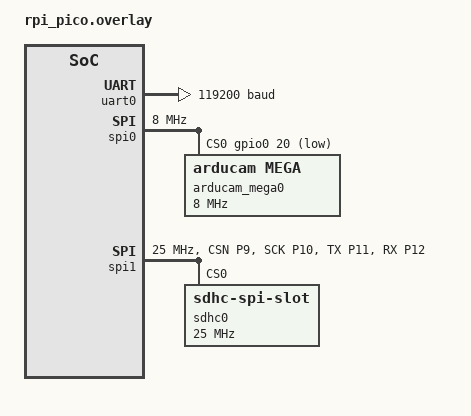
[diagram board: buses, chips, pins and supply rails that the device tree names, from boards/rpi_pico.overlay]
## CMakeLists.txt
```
# SPDX-License-Identifier: Apache-2.0

cmake_minimum_required(VERSION 3.20.0)
find_package(Zephyr REQUIRED HINTS $ENV{ZEPHYR_BASE})
project(simple)

FILE(GLOB app_sources src/*.c)

set(LIB_DIR lib)
zephyr_include_directories(. ${LIB_DIR})
zephyr_library_sources(
  ${LIB_DIR}/sd.c
  ${LIB_DIR}/camera.c
)

target_sources(app PRIVATE ${app_sources})
```

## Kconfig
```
menu "Zephyr"
source "Kconfig.zephyr"
endmenu

module = APP
module-str = APP
source "subsys/logging/Kconfig.template.log_config"
```

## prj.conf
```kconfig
CONFIG_LOG=y
CONFIG_SERIAL=y

# Arducam
CONFIG_SPI=y
CONFIG_VIDEO=y
CONFIG_VIDEO_INIT_PRIORITY=72
CONFIG_VIDEO_BUFFER_POOL_SZ_MAX=2048
CONFIG_VIDEO_BUFFER_POOL_NUM_MAX=2
CONFIG_VIDEO_ARDUCAM_MEGA=y

# SD Card
CONFIG_DISK_ACCESS=y
CONFIG_LOG=y
CONFIG_FILE_SYSTEM=y
CONFIG_FS_FATFS_EXFAT=y
CONFIG_FS_FATFS_LFN=y
CONFIG_DISK_DRIVER_SDMMC=y
CONFIG_SPI=y
CONFIG_GPIO=y
CONFIG_PRINTK=y
CONFIG_CONSOLE=y
CONFIG_SERIAL=y
CONFIG_UART_CONSOLE=y
CONFIG_APP_LOG_LEVEL_DBG=y
CONFIG_FAT_FILESYSTEM_ELM=y
CONFIG_MAIN_STACK_SIZE=8192
```

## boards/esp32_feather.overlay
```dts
&uart0 {
    current-speed = <921600>;
};

&spi2 {
    clock-frequency = <8000000>;
    cs-gpios = <&gpio0 10 GPIO_ACTIVE_LOW>;
    arducam_mega0: arducam-mega0@0 {
        compatible = "arducam,mega";
        reg = <0>;
        spi-max-frequency = <8000000>;
        status = "okay";
    };
};
```

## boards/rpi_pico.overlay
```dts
&uart0 {
    current-speed = <119200>;
};

&spi0 {
    clock-frequency = <8000000>;
    cs-gpios = <&gpio0 20 GPIO_ACTIVE_LOW>;
    arducam_mega0: arducam-mega0@0 {
        compatible = "arducam,mega";
        reg = <0>;
        spi-max-frequency = <8000000>;
        status = "okay";
    };
};

&spi1 {
	status = "okay";
	clock-frequency = <DT_FREQ_M(25)>;
	pinctrl-0 = <&spi1_default>;
	pinctrl-names = "default";
	sdhc0: sdhc@0 {
		compatible = "zephyr,sdhc-spi-slot";
		reg = <0>;
		status = "okay";
		mmc {
		    compatible = "zephyr,sdmmc-disk";
		    status = "okay";
		};
		spi-max-frequency = <25000000>;
	};
};

&pinctrl {
	spi1_default: spi1_default {
		group1 {
			pinmux = <SPI1_CSN_P9>, <SPI1_SCK_P10>, <SPI1_TX_P11>,<SPI1_RX_P12>;
			input-enable;
		};
	};
};
```

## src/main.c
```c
/*
 * Copyright (c) 2022, Kumar Gala <galak@kernel.org>
 *
 * SPDX-License-Identifier: Apache-2.0
 */

#include <zephyr/kernel.h>
#include <zephyr/device.h>

#include <zephyr/drivers/video.h>
#include <zephyr/drivers/uart.h>

#include <zephyr/storage/disk_access.h>
#include <zephyr/fs/fs.h>
#include <ff.h>

#include <stdio.h>
#include <stdlib.h>

#include "sd.h"
#include "camera.h"

#define LOG_LEVEL CONFIG_LOG_DEFAULT_LEVEL
#include <zephyr/logging/log.h>
LOG_MODULE_REGISTER(main);

int main(void)
{
	/** SD card mount test **/
	if (mount_sd_card()) {
		printk("Failed to mount SD card\n");
		return -1;
	} else {
		printk("Successfully mounted SD card\n");
	}

	camera_init();

	printk("Attempting to capture a photo\n");

	take_picture();

	printk("Done writing to file\n");
	return 0;
}
```
